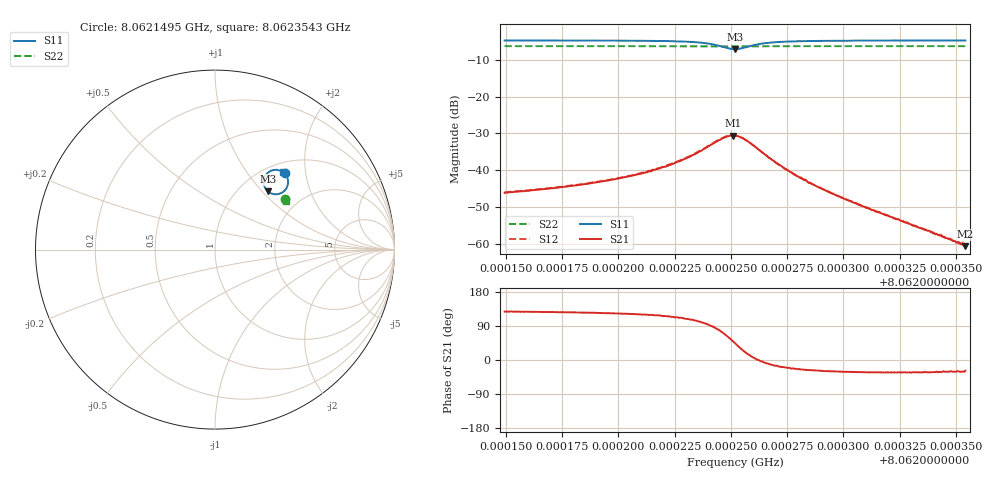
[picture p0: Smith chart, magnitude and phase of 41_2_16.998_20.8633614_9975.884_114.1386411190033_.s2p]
#  HZ  S  RI  R  50.00
! Rohde & Schwarz Vector Network Analyzer
! Rohde-Schwarz,ZNB20-2Port,1311601062101988,3.16
! Created: UTC 3/20/2024, 10:53:54 PM
! freq[Hz]  re:S11  im:S11  re:S21  im:S21  re:S12  im:S12  re:S22  im:S22
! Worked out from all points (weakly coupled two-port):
!   401 points, 8.0621495 GHz to 8.0623543 GHz, reference 50 ohm
!   highest |S21| = -30.58 dB at 8.0622508 GHz (marker M1); lowest = -60.5 dB at 8.0623543 GHz (marker M2)
!   lowest |S11| = -7.2 dB at 8.0622519 GHz (marker M3), VSWR 2.56, Z = 66.7 + j53.8 ohm
!   |S11| at or under -10 dB: nowhere
!   |S22| runs from -6.5 to -6.3 dB; largest |S21 - S12| = 0.0027
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8.06214949e9  0.3885 0.424  -0.00303 0.00391  -0.00283 0.00418  0.3908 0.2822
8.06217099e9  0.392 0.4199  -0.00342 0.00461  -0.00318 0.00488  0.3913 0.281
8.06218379e9  0.3945 0.4167  -0.00373 0.00524  -0.00344 0.00553  0.3918 0.2801
8.06220273e9  0.3992 0.409  -0.00429 0.00681  -0.00391 0.00719  0.3927 0.2789
8.06221809e9  0.4044 0.3966  -0.00495 0.00941  -0.00429 0.00984  0.3931 0.2776
8.06222218e9  0.4058 0.3914  -0.00488 0.0105  -0.00438 0.011  0.3932 0.2772
8.06222833e9  0.4072 0.3802  -0.00486 0.0128  -0.00409 0.0135  0.3933 0.2764
8.06223242e9  0.4071 0.3696  -0.00454 0.015  -0.00352 0.0156  0.3932 0.2757
8.06223959e9  0.3979 0.3417  -0.00161 0.0206  -0.000197 0.0212  0.3926 0.2744
8.06224675e9  0.3523 0.3096  0.00911 0.0259  0.0113 0.0255  0.3904 0.2735
8.06225085e9  0.3045 0.3177  0.019 0.0227  0.0211 0.0213  0.3887 0.2745
8.06225187e9  0.2933 0.3258  0.0212 0.0207  0.0229 0.019  0.3885 0.2749
8.06225392e9  0.2774 0.3472  0.0238 0.0155  0.0251 0.0136  0.3882 0.276
8.06225648e9  0.2708 0.3769  0.0243 0.00893  0.025 0.00726  0.3885 0.2771
8.06226006e9  0.2795 0.4097  0.0217 0.00246  0.0216 0.000899  0.3896 0.2781
8.06226416e9  0.297 0.4303  0.0173 -0.00134  0.0171 -0.0027  0.3905 0.2785
8.0622744e9  0.3311 0.4443  0.00973 -0.00353  0.00957 -0.00411  0.3925 0.2781
8.062279e9  0.3404 0.4446  0.00783 -0.00336  0.00763 -0.00382  0.3931 0.2777
8.06228617e9  0.3505 0.4438  0.00581 -0.00298  0.00565 -0.00335  0.3937 0.2773
8.06229948e9  0.3618 0.4409  0.00362 -0.00218  0.00353 -0.00239  0.3945 0.2763
8.06232047e9  0.3712 0.4369  0.00199 -0.00129  0.0019 -0.00145  0.3955 0.275
8.06235425e9  0.3789 0.4322  0.000828 -0.000444  0.000793 -0.000535  0.3967 0.2731
